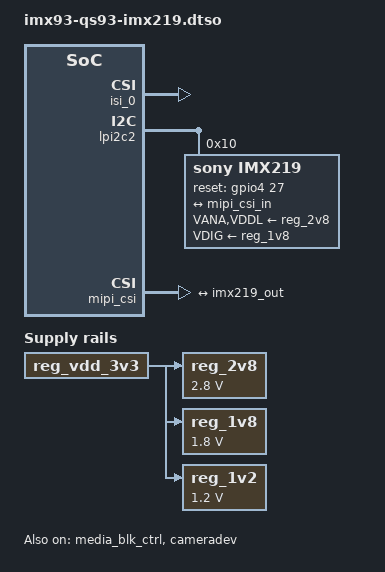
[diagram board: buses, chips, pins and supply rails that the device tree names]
// SPDX-License-Identifier: (GPL-2.0 OR MIT)
/*
 * Copyright 2023 Markus Bauer <MB@KARO-electronics.de>
 *
 */

/dts-v1/;
/plugin/;

#include <dt-bindings/clock/imx93-clock.h>
#include <dt-bindings/gpio/gpio.h>
#include "imx93-pinfunc.h"

&{/} {
	reg_2v8: regulator-2v8 {
		compatible = "regulator-fixed";
		regulator-name = "2V8";
		regulator-min-microvolt = <2800000>;
		regulator-max-microvolt = <2800000>;
		regulator-always-on;
		vin-supply = <&reg_vdd_3v3>;
	};

	reg_1v8: regulator-1v8 {
		compatible = "regulator-fixed";
		regulator-name = "1V8";
		regulator-min-microvolt = <1800000>;
		regulator-max-microvolt = <1800000>;
		regulator-always-on;
		vin-supply = <&reg_vdd_3v3>;
	};

	reg_1v2: regulator-1v2 {
		compatible = "regulator-fixed";
		regulator-name = "1V2";
		regulator-min-microvolt = <1200000>;
		regulator-max-microvolt = <1200000>;
		regulator-always-on;
		vin-supply = <&reg_vdd_3v3>;
	};
};

&{/chosen} {
	overlays {
		qs93-imx219;
	};
};

&media_blk_ctrl {
	status = "okay";
};

&cameradev {
	status = "okay";
};

&isi_0 {
	status = "okay";

	cap_device {
		status = "okay";
	};
};

&lpi2c2 {
	#address-cells = <1>;
	#size-cells = <0>;

	imx219: sensor@10 {
		compatible = "sony,imx219";
		reg = <0x10>;
		pinctrl-names = "default";
		pinctrl-0 = <&pinctrl_imx219_reset>;
		reset-gpios = <&gpio4 27 GPIO_ACTIVE_HIGH>;
		clock-names = "xclk";
		clocks = <&clk IMX93_CLK_24M>;
		assigned-clocks = <&clk IMX93_CLK_24M>;
		assigned-clock-rates = <24000000>;
		csi_id = <0>;
		VANA-supply = <&reg_2v8>;   /* 2.8v */
		VDIG-supply = <&reg_1v8>;   /* 1.8v */
		VDDL-supply = <&reg_2v8>;   /* 1.2v */
		mclk = <24000000>;
		mclk_source = <0>;
		mipi_csi;
		status = "okay";

		port {
			imx219_out: endpoint {
				remote-endpoint = <&mipi_csi_in>;
				data-lanes = <1 2>;
				clock-noncontinuous;
				link-frequencies = /bits/ 64 <456000000>;
			};
		};
	};
};

&mipi_csi {
	#address-cells = <1>;
	#size-cells = <0>;
	status = "okay";

	port@0 {
		reg = <0>;

		mipi_csi_in: endpoint {
			remote-endpoint = <&imx219_out>;
			data-lanes = <2>;
			cfg-clk-range = <28>;
			hs-clk-range = <0x29>;
			bus-type = <4>;
		};
	};
};

&iomuxc {
	pinctrl_imx219_reset: imx219-resetgrp {
		fsl,pins = <
			MX93_PAD_ENET2_RD3__GPIO4_IO27		0x57e
		>;
	};
};
